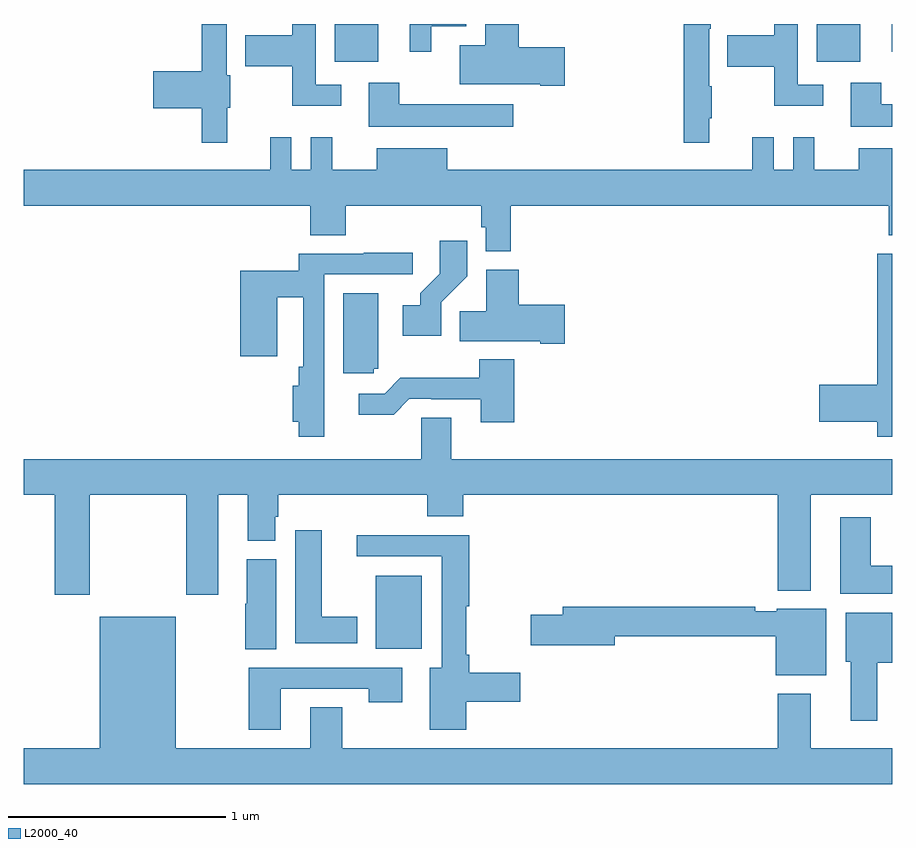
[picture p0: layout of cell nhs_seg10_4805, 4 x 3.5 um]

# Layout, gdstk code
import gdstk
lib = gdstk.Library(unit=1e-6, precision=1e-09)
def R(c, l, rs):  # rectangles x0, y0, x1, y1
    for r in rs: c.add(gdstk.rectangle(r[:2], r[2:], *l))
def P(c, l, *ps):  # polygons
    for p in ps: c.add(gdstk.Polygon(p, *l))
L2000_40 = (2000, 40)

nhs_seg10_4805 = lib.new_cell('nhs_seg10_4805')
R(nhs_seg10_4805, L2000_40, [(388.622,1283.624,388.834,1283.959), (388.433,1286.327,388.633,1286.5), (390.653,1286.327,390.853,1286.5), (390.998,1286.373,391,1286.5)])
P(nhs_seg10_4805, L2000_40, [(388.462,1286.22),(388.344,1286.22),(388.344,1286.5),(388.236,1286.5),(388.236,1286.449),(388.021,1286.449),(388.021,1286.306),(388.236,1286.306),(388.236,1286.123),(388.462,1286.123)],
  [(387.938,1286.115),(387.951,1286.115),(387.951,1286.265),(387.936,1286.265),(387.936,1286.5),(387.82,1286.5),(387.82,1286.282),(387.597,1286.282),(387.597,1286.111),(387.82,1286.111),(387.82,1285.953),(387.938,1285.953)],
  [(390.158,1286.065),(390.169,1286.065),(390.169,1286.213),(390.156,1286.213),(390.156,1286.477),(390.165,1286.477),(390.165,1286.5),(390.04,1286.5),(390.04,1285.953),(390.158,1285.953)],
  [(388.876,1286.49),(389.038,1286.49),(389.038,1286.5),(388.778,1286.5),(388.778,1286.373),(388.876,1286.373)],
  [(390.682,1286.22),(390.564,1286.22),(390.564,1286.5),(390.456,1286.5),(390.456,1286.448),(390.241,1286.448),(390.241,1286.302),(390.456,1286.302),(390.456,1286.123),(390.682,1286.123)],
  [(389.491,1286.393),(389.279,1286.393),(389.279,1286.5),(389.126,1286.5),(389.126,1286.401),(389.009,1286.401),(389.009,1286.222),(389.378,1286.222),(389.378,1286.215),(389.491,1286.215)],
  [(391,1286.131),(390.949,1286.131),(390.949,1286.23),(390.809,1286.23),(390.809,1286.027),(391,1286.027)],
  [(389.254,1286.131),(388.729,1286.131),(388.729,1286.23),(388.589,1286.23),(388.589,1286.027),(389.254,1286.027)],
  [(389.243,1285.664),(390.983,1285.664),(390.983,1285.528),(391,1285.528),(391,1285.927),(390.845,1285.927),(390.845,1285.828),(390.641,1285.828),(390.641,1285.978),(390.543,1285.978),(390.543,1285.828),(390.453,1285.828),(390.453,1285.978),(390.356,1285.978),(390.356,1285.828),(388.951,1285.828),(388.951,1285.927),(388.625,1285.927),(388.625,1285.828),(388.421,1285.828),(388.421,1285.978),(388.323,1285.978),(388.323,1285.828),(388.233,1285.828),(388.233,1285.978),(388.136,1285.978),(388.136,1285.828),(387,1285.828),(387,1285.664),(388.319,1285.664),(388.319,1285.528),(388.484,1285.528),(388.484,1285.664),(389.107,1285.664),(389.107,1285.563),(389.127,1285.563),(389.127,1285.454),(389.243,1285.454)],
  [(388.923,1285.219),(389.042,1285.338),(389.042,1285.501),(388.917,1285.501),(388.917,1285.349),(388.826,1285.259),(388.826,1285.204),(388.746,1285.204),(388.746,1285.064),(388.923,1285.064)],
  [(388.384,1284.822),(388.383,1284.822),(388.383,1285.347),(388.792,1285.347),(388.792,1285.446),(388.567,1285.446),(388.567,1285.443),(388.267,1285.443),(388.267,1285.363),(387.998,1285.363),(387.998,1284.969),(388.168,1284.969),(388.168,1285.242),(388.287,1285.242),(388.287,1284.922),(388.267,1284.922),(388.267,1284.834),(388.238,1284.834),(388.238,1284.668),(388.267,1284.668),(388.267,1284.6),(388.384,1284.6)],
  [(391,1285.443),(390.931,1285.443),(390.931,1284.839),(390.663,1284.839),(390.663,1284.668),(390.931,1284.668),(390.931,1284.6),(391,1284.6)],
  [(389.491,1285.206),(389.279,1285.206),(389.279,1285.369),(389.129,1285.369),(389.129,1285.178),(389.008,1285.178),(389.008,1285.04),(389.378,1285.04),(389.378,1285.028),(389.491,1285.028)],
  [(388.611,1284.912),(388.633,1284.912),(388.633,1285.261),(388.472,1285.261),(388.472,1284.891),(388.611,1284.891)],
  [(389.258,1284.955),(389.098,1284.955),(389.098,1284.871),(388.735,1284.871),(388.662,1284.798),(388.542,1284.798),(388.542,1284.701),(388.703,1284.701),(388.776,1284.774),(388.876,1284.774),(388.876,1284.771),(389.105,1284.771),(389.105,1284.666),(389.258,1284.666)],
  [(388.859,1284.233),(389.024,1284.233),(389.024,1284.332),(390.473,1284.332),(390.473,1283.891),(390.625,1283.891),(390.625,1284.332),(391,1284.332),(391,1284.496),(388.969,1284.496),(388.969,1284.686),(388.83,1284.686),(388.83,1284.496),(387,1284.496),(387,1284.332),(387.143,1284.332),(387.143,1283.871),(387.303,1283.871),(387.303,1284.332),(387.748,1284.332),(387.748,1283.871),(387.895,1283.871),(387.895,1284.332),(388.031,1284.332),(388.031,1284.121),(388.159,1284.121),(388.159,1284.231),(388.172,1284.231),(388.172,1284.332),(388.859,1284.332)],
  [(391,1284.004),(390.901,1284.004),(390.901,1284.229),(390.761,1284.229),(390.761,1283.876),(391,1283.876)],
  [(388.537,1283.77),(388.372,1283.77),(388.372,1284.169),(388.25,1284.169),(388.25,1283.648),(388.537,1283.648)],
  [(389.038,1283.378),(389.287,1283.378),(389.287,1283.513),(389.051,1283.513),(389.051,1283.596),(389.038,1283.596),(389.038,1283.819),(389.051,1283.819),(389.051,1284.146),(388.533,1284.146),(388.533,1284.048),(388.925,1284.048),(388.925,1283.536),(388.871,1283.536),(388.871,1283.25),(389.038,1283.25)],
  [(388.162,1284.036),(388.028,1284.036),(388.028,1283.829),(388.021,1283.829),(388.021,1283.62),(388.162,1283.62)],
  [(390.697,1283.806),(390.468,1283.806),(390.468,1283.796),(390.368,1283.796),(390.368,1283.816),(389.483,1283.816),(389.483,1283.78),(389.334,1283.78),(389.334,1283.638),(389.722,1283.638),(389.722,1283.68),(390.464,1283.68),(390.464,1283.501),(390.697,1283.501)],
  [(390.931,1283.558),(391,1283.558),(391,1283.788),(390.785,1283.788),(390.785,1283.562),(390.809,1283.562),(390.809,1283.292),(390.931,1283.292)],
  [(391,1283.164),(390.625,1283.164),(390.625,1283.416),(390.473,1283.416),(390.473,1283.164),(388.467,1283.164),(388.467,1283.354),(388.319,1283.354),(388.319,1283.164),(387.7,1283.164),(387.7,1283.77),(387.35,1283.77),(387.35,1283.164),(387,1283.164),(387,1283),(391,1283)],
  [(388.183,1283.439),(388.588,1283.439),(388.588,1283.376),(388.744,1283.376),(388.744,1283.535),(388.036,1283.535),(388.036,1283.25),(388.183,1283.25)])

lib.write_gds('nhs_seg10_4805.gds')
